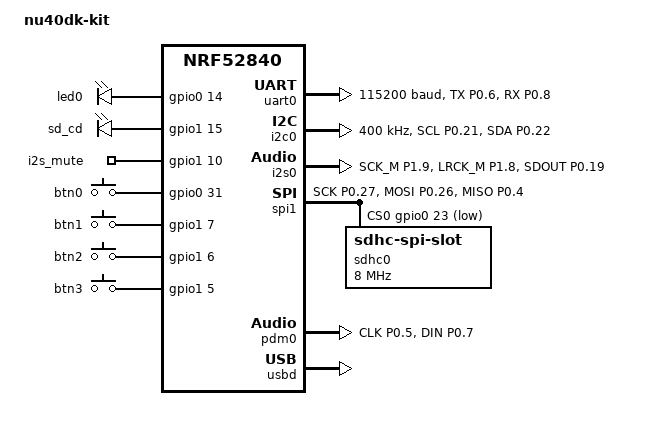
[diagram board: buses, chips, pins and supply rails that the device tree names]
/dts-v1/;
#include <nordic/nrf52840_qiaa.dtsi>
#include "nu40dk_kit-pinctrl.dtsi"

/ {
	model = "nu40dk-kit";
	compatible = "baram,nu40dk-kit";

	chosen {
		zephyr,sram = &sram0;
		zephyr,flash = &flash0;
		zephyr,code-partition = &slot0_partition;
    zephyr,console = &uart0;
	};

  leds {
    compatible = "gpio-leds";
    led0: led0 {
      gpios = <&gpio0 14 0>;
    };
  };  

  gpio_pins {    		
		compatible = "gpio-leds";
    sd_cd: sd_cd {			
      gpios = <&gpio1 15 GPIO_ACTIVE_HIGH>;     
    };

		i2s_mute: i2s_mute {
			gpios = <&gpio1 10 GPIO_ACTIVE_HIGH>;
		}; 		
  };    

  buttons {
		compatible = "gpio-keys";
    debounce-interval-ms = <20>;

		btn0: btn_0 { 
			gpios = <&gpio0 31 GPIO_PULL_UP>;
      zephyr,code = <0>;
		};
		btn1: btn_1 {
			gpios = <&gpio1 7 GPIO_PULL_UP>;
      zephyr,code = <1>;
		};  
		btn2: btn_2 {
			gpios = <&gpio1 6 GPIO_PULL_UP>;
      zephyr,code = <2>;
		};
		btn3: btn_3 {
			gpios = <&gpio1 5 GPIO_PULL_UP>;
      zephyr,code = <3>;
		};    
  };    
};

&flash0 {
	partitions {
		compatible = "fixed-partitions";
		#address-cells = <1>;
		#size-cells = <1>;

		boot_partition: partition@0 {
			label = "mcuboot";
			reg = <0x00000000 DT_SIZE_K(48)>;
		};

		slot0_partition: partition@c000 {
			label = "image-0";
			reg = <0x0000c000 DT_SIZE_K(472)>;
		};

		slot1_partition: partition@82000 {
			label = "image-1";
			reg = <0x00082000 DT_SIZE_K(472)>;
		};

		storage_partition: partition@f8000 {
			label = "storage";
			reg = <0x000f8000 DT_SIZE_K(32)>;
		};
	};
};

&gpio0 {
  status = "okay";
};

&gpiote {
  status = "okay";
};

&gpio1 {
  status = "okay";
};

&uart0 {
  status = "okay";
  hw-flow-control;
  current-speed = <115200>;
  pinctrl-0 = <&uart0_default>;
  pinctrl-1 = <&uart0_sleep>;
  pinctrl-names = "default", "sleep";
};

&pinctrl {
  uart0_default: uart0_default {
    group1 {
      psels = <NRF_PSEL(UART_TX, 0, 6)>, <NRF_PSEL(UART_RX, 0, 8)>;
    };
  };

  uart0_sleep: uart0_sleep {
    group1 {
      psels = <NRF_PSEL(UART_TX, 0, 6)>;
    };
  };

  i2c0_default: i2c0_default {
    group1 {
      psels = <NRF_PSEL(TWIM_SCL, 0, 21)>, <NRF_PSEL(TWIM_SDA, 0, 22)>;
      low-power-enable;
    };
  };

  i2c0_sleep: i2c0_sleep {
    group1 {
      psels = <NRF_PSEL(TWIM_SCL, 0, 21)>;
      low-power-enable;
    };
  };

  i2s0_default: i2s0_default {
    group1 {
      psels = <NRF_PSEL(I2S_SCK_M, 1, 9)>,
              <NRF_PSEL(I2S_LRCK_M, 1, 8)>,
              <NRF_PSEL(I2S_SDOUT, 0, 19)>;
    };
  };

  i2s0_sleep: i2s0_sleep {
    group1 {
      psels = <NRF_PSEL(I2S_SCK_M, 1, 9)>;
    };
  };

  spi1_default: spi1_default {
    group1 {
      psels = <NRF_PSEL(SPIM_SCK, 0, 27)>,
              <NRF_PSEL(SPIM_MOSI, 0, 26)>,
              <NRF_PSEL(SPIM_MISO, 0, 4)>;
    };
  };

  spi1_sleep: spi1_sleep {
    group1 {
      psels = <NRF_PSEL(SPIM_SCK, 0, 27)>;
    };
  };

  pdm0_default: pdm0_default {
    group1 {
      psels = <NRF_PSEL(PDM_CLK, 0, 5)>, <NRF_PSEL(PDM_DIN, 0, 7)>;
    };
  };

  pdm0_sleep: pdm0_sleep {
    group1 {
      psels = <NRF_PSEL(PDM_CLK, 0, 5)>;
    };
  };
};

&i2c0 {
  status = "okay";
  clock-frequency = <I2C_BITRATE_FAST>;
  pinctrl-0 = <&i2c0_default>;
  pinctrl-1 = <&i2c0_sleep>;
  pinctrl-names = "default", "sleep";
};


&i2s0 {
  status = "okay";
  pinctrl-0 = <&i2s0_default>;
  pinctrl-1 = <&i2s0_sleep>;
  pinctrl-names = "default", "sleep";
};

&spi1 {  
  status = "okay";
  max-frequency = <DT_FREQ_M(8)>;
  cs-gpios = <&gpio0 23 GPIO_ACTIVE_LOW>;
  pinctrl-0 = <&spi1_default>;
  pinctrl-1 = <&spi1_sleep>;
  pinctrl-names = "default", "sleep";

  sdhc0: sdhc@0 {
		compatible = "zephyr,sdhc-spi-slot";
		reg = <0>; /* cs-gpios[0] 사용 */
		spi-max-frequency = <8000000>;   
		status = "okay";

		sdmmc {
			compatible = "zephyr,sdmmc-disk";
			disk-name = "SD";
			status = "okay";
		};    		
	};  
};

dmic_dev: &pdm0 {
  status = "okay";
  pinctrl-0 = <&pdm0_default>;
  pinctrl-1 = <&pdm0_sleep>;
  pinctrl-names = "default", "sleep";
  clock-source = "PCLK32M_HFXO";
  queue-size = <16>;
};

zephyr_udc0: &usbd {
  status = "okay";

	usb_cdc: cdc_acm_uart0 {
		compatible = "zephyr,cdc-acm-uart";
	};  
};
